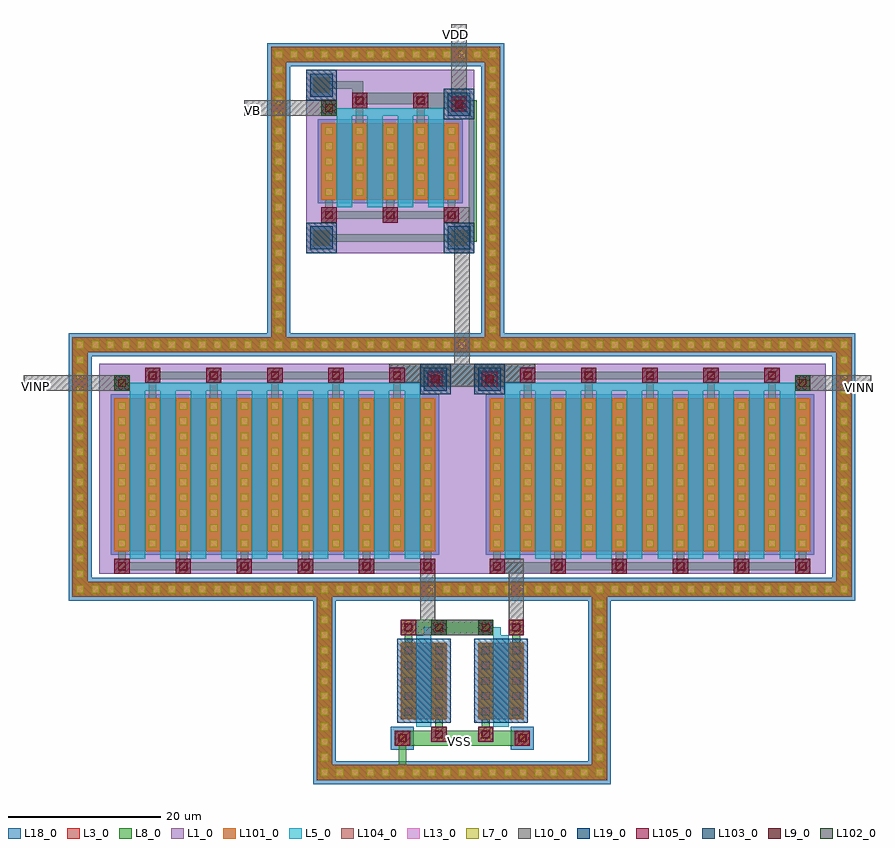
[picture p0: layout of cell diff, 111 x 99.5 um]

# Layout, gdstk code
from math import pi, radians
import gdstk
lib = gdstk.Library(unit=1e-6, precision=1e-07)
def R(c, l, rs):  # rectangles x0, y0, x1, y1
    for r in rs: c.add(gdstk.rectangle(r[:2], r[2:], *l))
L1_0 = (1, 0)
L3_0 = (3, 0)
L5_0 = (5, 0)
L7_0 = (7, 0)
L8_0 = (8, 0)
L9_0 = (9, 0)
L10_0 = (10, 0)
L13_0 = (13, 0)
L18_0 = (18, 0)
L19_0 = (19, 0)
L101_0 = (101, 0)
L102_0 = (102, 0)
L103_0 = (103, 0)
L104_0 = (104, 0)
L105_0 = (105, 0)

dcont = lib.new_cell('dcont')
R(dcont, L3_0, [(-1,-1,1,1)])
R(dcont, L7_0, [(-0.5,-0.5,0.5,0.5)])
R(dcont, L8_0, [(-1,-1,1,1)])
R(dcont, L13_0, [(-0.5,-0.5,0.5,0.5)])
R(dcont, L101_0, [(-1,-1,1,1)])

pcont = lib.new_cell('pcont')
R(pcont, L5_0, [(-1,-1,1,1)])
R(pcont, L7_0, [(-0.5,-0.5,0.5,0.5)])
R(pcont, L8_0, [(-1,-1,1,1)])
R(pcont, L13_0, [(-0.5,-0.5,0.5,0.5)])
R(pcont, L102_0, [(-1,-1,1,1)])

via = lib.new_cell('Via')
R(via, L8_0, [(-1,-1,1,1)])
R(via, L9_0, [(-0.5,-0.5,0.5,0.5)])
R(via, L10_0, [(-1,-1,1,1)])
R(via, L13_0, [(-0.5,-0.5,0.5,0.5)])
R(via, L105_0, [(-1,-1,1,1)])

dcont1 = lib.new_cell('dcont1')
R(dcont1, L3_0, [(-1,-1,1,1)])
R(dcont1, L7_0, [(-0.5,-0.5,0.5,0.5)])
R(dcont1, L8_0, [(-1,-1,1,1)])
R(dcont1, L13_0, [(-0.5,-0.5,0.5,0.5)])
R(dcont1, L101_0, [(-1,-1,1,1)])

nsubcont = lib.new_cell('nsubcont')
R(nsubcont, L1_0, [(-2,-2,2,2)])
R(nsubcont, L19_0, [(-1.5,-1.5,1.5,1.5)])
R(nsubcont, L103_0, [(-2,-2,2,2)])
nsubcont.add(gdstk.Reference(dcont1, (0,0)))

pch_2 = lib.new_cell('Pch$2')
R(pch_2, L1_0, [(-2,-1.5,20,16)])
R(pch_2, L3_0, [(0,3,18,13)])
R(pch_2, L18_0, [(-0.5,2.5,18.5,13.5)])
pch_2.add(gdstk.FlexPath([(1,3),(1,13)], 2, ends="flush", simple_path=True, layer=8, datatype=0))  # L8_0
pch_2.add(gdstk.FlexPath([(5,3),(5,13)], 2, ends="flush", simple_path=True, layer=8, datatype=0))  # L8_0
pch_2.add(gdstk.FlexPath([(9,3),(9,13)], 2, ends="flush", simple_path=True, layer=8, datatype=0))  # L8_0
pch_2.add(gdstk.FlexPath([(13,3),(13,13)], 2, ends="flush", simple_path=True, layer=8, datatype=0))  # L8_0
pch_2.add(gdstk.FlexPath([(17,3),(17,13)], 2, ends="flush", simple_path=True, layer=8, datatype=0))  # L8_0
pch_2.add(gdstk.FlexPath([(1,12),(1,15)], 1, ends="flush", simple_path=True, layer=8, datatype=0))  # L8_0
pch_2.add(gdstk.FlexPath([(5,0),(5,4)], 1, ends="flush", simple_path=True, layer=8, datatype=0))  # L8_0
pch_2.add(gdstk.FlexPath([(9,12),(9,15)], 1, ends="flush", simple_path=True, layer=8, datatype=0))  # L8_0
pch_2.add(gdstk.FlexPath([(1,15),(9,15)], 1, ends="extended", simple_path=True, layer=8, datatype=0))  # L8_0
pch_2.add(gdstk.FlexPath([(13,0),(13,4)], 1, ends="flush", simple_path=True, layer=8, datatype=0))  # L8_0
pch_2.add(gdstk.FlexPath([(5,0),(13,0)], 1, ends="extended", simple_path=True, layer=8, datatype=0))  # L8_0
pch_2.add(gdstk.FlexPath([(17,12),(17,15)], 1, ends="flush", simple_path=True, layer=8, datatype=0))  # L8_0
pch_2.add(gdstk.FlexPath([(9,15),(17,15)], 1, ends="extended", simple_path=True, layer=8, datatype=0))  # L8_0
pch_2.add(gdstk.FlexPath([(3,3),(3,13)], 2, ends="extended", simple_path=True, layer=5, datatype=0))  # L5_0
pch_2.add(gdstk.FlexPath([(7,3),(7,13)], 2, ends="extended", simple_path=True, layer=5, datatype=0))  # L5_0
pch_2.add(gdstk.FlexPath([(11,3),(11,13)], 2, ends="extended", simple_path=True, layer=5, datatype=0))  # L5_0
pch_2.add(gdstk.FlexPath([(15,3),(15,13)], 2, ends="extended", simple_path=True, layer=5, datatype=0))  # L5_0
pch_2.add(gdstk.FlexPath([(1,1.5),(2.5,1.5),(2.5,2)], 1, ends="flush", simple_path=True, layer=5, datatype=0))  # L5_0
pch_2.add(gdstk.FlexPath([(2,1.5),(8,1.5)], 1, ends="flush", simple_path=True, layer=5, datatype=0))  # L5_0
pch_2.add(gdstk.FlexPath([(6,1.5),(12,1.5)], 1, ends="flush", simple_path=True, layer=5, datatype=0))  # L5_0
pch_2.add(gdstk.FlexPath([(10,1.5),(16,1.5)], 1, ends="flush", simple_path=True, layer=5, datatype=0))  # L5_0
pch_2.add(gdstk.Reference(dcont, (1,4)))
pch_2.add(gdstk.Reference(dcont, (1,6)))
pch_2.add(gdstk.Reference(dcont, (1,8)))
pch_2.add(gdstk.Reference(dcont, (1,10)))
pch_2.add(gdstk.Reference(dcont, (1,12)))
pch_2.add(gdstk.Reference(dcont, (5,4)))
pch_2.add(gdstk.Reference(dcont, (5,6)))
pch_2.add(gdstk.Reference(dcont, (5,8)))
pch_2.add(gdstk.Reference(dcont, (5,10)))
pch_2.add(gdstk.Reference(dcont, (5,12)))
pch_2.add(gdstk.Reference(dcont, (9,4)))
pch_2.add(gdstk.Reference(dcont, (9,6)))
pch_2.add(gdstk.Reference(dcont, (9,8)))
pch_2.add(gdstk.Reference(dcont, (9,10)))
pch_2.add(gdstk.Reference(dcont, (9,12)))
pch_2.add(gdstk.Reference(dcont, (13,4)))
pch_2.add(gdstk.Reference(dcont, (13,6)))
pch_2.add(gdstk.Reference(dcont, (13,8)))
pch_2.add(gdstk.Reference(dcont, (13,10)))
pch_2.add(gdstk.Reference(dcont, (13,12)))
pch_2.add(gdstk.Reference(dcont, (17,4)))
pch_2.add(gdstk.Reference(dcont, (17,6)))
pch_2.add(gdstk.Reference(dcont, (17,8)))
pch_2.add(gdstk.Reference(dcont, (17,10)))
pch_2.add(gdstk.Reference(dcont, (17,12)))
pch_2.add(gdstk.Reference(pcont, (1,1)))
pch_2.add(gdstk.Reference(via, (1,1)))
pch_2.add(gdstk.Reference(via, (1,15)))
pch_2.add(gdstk.Reference(via, (5,0)))
pch_2.add(gdstk.Reference(via, (9,15)))
pch_2.add(gdstk.Reference(via, (13,0)))
pch_2.add(gdstk.Reference(via, (17,15)))
pch_2.add(gdstk.Reference(nsubcont, (18,0.5)))
pch_2.add(gdstk.Reference(via, (18,0.5)))

pch_6 = lib.new_cell('Pch$6')
R(pch_6, L1_0, [(-2,-1.5,44,26)])
R(pch_6, L3_0, [(0,3,42,23)])
R(pch_6, L18_0, [(-0.5,2.5,42.5,23.5)])
pch_6.add(gdstk.FlexPath([(1,3),(1,23)], 2, ends="flush", simple_path=True, layer=8, datatype=0))  # L8_0
pch_6.add(gdstk.FlexPath([(5,3),(5,23)], 2, ends="flush", simple_path=True, layer=8, datatype=0))  # L8_0
pch_6.add(gdstk.FlexPath([(9,3),(9,23)], 2, ends="flush", simple_path=True, layer=8, datatype=0))  # L8_0
pch_6.add(gdstk.FlexPath([(13,3),(13,23)], 2, ends="flush", simple_path=True, layer=8, datatype=0))  # L8_0
pch_6.add(gdstk.FlexPath([(17,3),(17,23)], 2, ends="flush", simple_path=True, layer=8, datatype=0))  # L8_0
pch_6.add(gdstk.FlexPath([(21,3),(21,23)], 2, ends="flush", simple_path=True, layer=8, datatype=0))  # L8_0
pch_6.add(gdstk.FlexPath([(25,3),(25,23)], 2, ends="flush", simple_path=True, layer=8, datatype=0))  # L8_0
pch_6.add(gdstk.FlexPath([(29,3),(29,23)], 2, ends="flush", simple_path=True, layer=8, datatype=0))  # L8_0
pch_6.add(gdstk.FlexPath([(33,3),(33,23)], 2, ends="flush", simple_path=True, layer=8, datatype=0))  # L8_0
pch_6.add(gdstk.FlexPath([(37,3),(37,23)], 2, ends="flush", simple_path=True, layer=8, datatype=0))  # L8_0
pch_6.add(gdstk.FlexPath([(41,3),(41,23)], 2, ends="flush", simple_path=True, layer=8, datatype=0))  # L8_0
pch_6.add(gdstk.FlexPath([(1,22),(1,25)], 1, ends="flush", simple_path=True, layer=8, datatype=0))  # L8_0
pch_6.add(gdstk.FlexPath([(5,0),(5,4)], 1, ends="flush", simple_path=True, layer=8, datatype=0))  # L8_0
pch_6.add(gdstk.FlexPath([(9,22),(9,25)], 1, ends="flush", simple_path=True, layer=8, datatype=0))  # L8_0
pch_6.add(gdstk.FlexPath([(1,25),(9,25)], 1, ends="extended", simple_path=True, layer=8, datatype=0))  # L8_0
pch_6.add(gdstk.FlexPath([(13,0),(13,4)], 1, ends="flush", simple_path=True, layer=8, datatype=0))  # L8_0
pch_6.add(gdstk.FlexPath([(5,0),(13,0)], 1, ends="extended", simple_path=True, layer=8, datatype=0))  # L8_0
pch_6.add(gdstk.FlexPath([(17,22),(17,25)], 1, ends="flush", simple_path=True, layer=8, datatype=0))  # L8_0
pch_6.add(gdstk.FlexPath([(9,25),(17,25)], 1, ends="extended", simple_path=True, layer=8, datatype=0))  # L8_0
pch_6.add(gdstk.FlexPath([(21,0),(21,4)], 1, ends="flush", simple_path=True, layer=8, datatype=0))  # L8_0
pch_6.add(gdstk.FlexPath([(13,0),(21,0)], 1, ends="extended", simple_path=True, layer=8, datatype=0))  # L8_0
pch_6.add(gdstk.FlexPath([(25,22),(25,25)], 1, ends="flush", simple_path=True, layer=8, datatype=0))  # L8_0
pch_6.add(gdstk.FlexPath([(17,25),(25,25)], 1, ends="extended", simple_path=True, layer=8, datatype=0))  # L8_0
pch_6.add(gdstk.FlexPath([(29,0),(29,4)], 1, ends="flush", simple_path=True, layer=8, datatype=0))  # L8_0
pch_6.add(gdstk.FlexPath([(21,0),(29,0)], 1, ends="extended", simple_path=True, layer=8, datatype=0))  # L8_0
pch_6.add(gdstk.FlexPath([(33,22),(33,25)], 1, ends="flush", simple_path=True, layer=8, datatype=0))  # L8_0
pch_6.add(gdstk.FlexPath([(25,25),(33,25)], 1, ends="extended", simple_path=True, layer=8, datatype=0))  # L8_0
pch_6.add(gdstk.FlexPath([(37,0),(37,4)], 1, ends="flush", simple_path=True, layer=8, datatype=0))  # L8_0
pch_6.add(gdstk.FlexPath([(29,0),(37,0)], 1, ends="extended", simple_path=True, layer=8, datatype=0))  # L8_0
pch_6.add(gdstk.FlexPath([(41,22),(41,25)], 1, ends="flush", simple_path=True, layer=8, datatype=0))  # L8_0
pch_6.add(gdstk.FlexPath([(33,25),(41,25)], 1, ends="extended", simple_path=True, layer=8, datatype=0))  # L8_0
pch_6.add(gdstk.FlexPath([(3,3),(3,23)], 2, ends="extended", simple_path=True, layer=5, datatype=0))  # L5_0
pch_6.add(gdstk.FlexPath([(7,3),(7,23)], 2, ends="extended", simple_path=True, layer=5, datatype=0))  # L5_0
pch_6.add(gdstk.FlexPath([(11,3),(11,23)], 2, ends="extended", simple_path=True, layer=5, datatype=0))  # L5_0
pch_6.add(gdstk.FlexPath([(15,3),(15,23)], 2, ends="extended", simple_path=True, layer=5, datatype=0))  # L5_0
pch_6.add(gdstk.FlexPath([(19,3),(19,23)], 2, ends="extended", simple_path=True, layer=5, datatype=0))  # L5_0
pch_6.add(gdstk.FlexPath([(23,3),(23,23)], 2, ends="extended", simple_path=True, layer=5, datatype=0))  # L5_0
pch_6.add(gdstk.FlexPath([(27,3),(27,23)], 2, ends="extended", simple_path=True, layer=5, datatype=0))  # L5_0
pch_6.add(gdstk.FlexPath([(31,3),(31,23)], 2, ends="extended", simple_path=True, layer=5, datatype=0))  # L5_0
pch_6.add(gdstk.FlexPath([(35,3),(35,23)], 2, ends="extended", simple_path=True, layer=5, datatype=0))  # L5_0
pch_6.add(gdstk.FlexPath([(39,3),(39,23)], 2, ends="extended", simple_path=True, layer=5, datatype=0))  # L5_0
pch_6.add(gdstk.FlexPath([(1,1.5),(2.5,1.5),(2.5,2)], 1, ends="flush", simple_path=True, layer=5, datatype=0))  # L5_0
pch_6.add(gdstk.FlexPath([(2,1.5),(8,1.5)], 1, ends="flush", simple_path=True, layer=5, datatype=0))  # L5_0
pch_6.add(gdstk.FlexPath([(6,1.5),(12,1.5)], 1, ends="flush", simple_path=True, layer=5, datatype=0))  # L5_0
pch_6.add(gdstk.FlexPath([(10,1.5),(16,1.5)], 1, ends="flush", simple_path=True, layer=5, datatype=0))  # L5_0
pch_6.add(gdstk.FlexPath([(14,1.5),(20,1.5)], 1, ends="flush", simple_path=True, layer=5, datatype=0))  # L5_0
pch_6.add(gdstk.FlexPath([(18,1.5),(24,1.5)], 1, ends="flush", simple_path=True, layer=5, datatype=0))  # L5_0
pch_6.add(gdstk.FlexPath([(22,1.5),(28,1.5)], 1, ends="flush", simple_path=True, layer=5, datatype=0))  # L5_0
pch_6.add(gdstk.FlexPath([(26,1.5),(32,1.5)], 1, ends="flush", simple_path=True, layer=5, datatype=0))  # L5_0
pch_6.add(gdstk.FlexPath([(30,1.5),(36,1.5)], 1, ends="flush", simple_path=True, layer=5, datatype=0))  # L5_0
pch_6.add(gdstk.FlexPath([(34,1.5),(40,1.5)], 1, ends="flush", simple_path=True, layer=5, datatype=0))  # L5_0
pch_6.add(gdstk.Reference(dcont, (1,12)))
pch_6.add(gdstk.Reference(dcont, (5,12)))
pch_6.add(gdstk.Reference(dcont, (9,12)))
pch_6.add(gdstk.Reference(dcont, (13,12)))
pch_6.add(gdstk.Reference(dcont, (17,12)))
pch_6.add(gdstk.Reference(dcont, (21,12)))
pch_6.add(gdstk.Reference(dcont, (25,12)))
pch_6.add(gdstk.Reference(dcont, (29,12)))
pch_6.add(gdstk.Reference(dcont, (33,12)))
pch_6.add(gdstk.Reference(dcont, (37,12)))
pch_6.add(gdstk.Reference(dcont, (41,12)))
pch_6.add(gdstk.Reference(dcont, (25,22)))
pch_6.add(gdstk.Reference(dcont, (25,14)))
pch_6.add(gdstk.Reference(dcont, (29,14)))
pch_6.add(gdstk.Reference(dcont, (29,16)))
pch_6.add(gdstk.Reference(dcont, (29,18)))
pch_6.add(gdstk.Reference(dcont, (29,20)))
pch_6.add(gdstk.Reference(dcont, (29,22)))
pch_6.add(gdstk.Reference(dcont, (25,16)))
pch_6.add(gdstk.Reference(dcont, (33,14)))
pch_6.add(gdstk.Reference(dcont, (33,16)))
pch_6.add(gdstk.Reference(dcont, (33,18)))
pch_6.add(gdstk.Reference(dcont, (33,20)))
pch_6.add(gdstk.Reference(dcont, (33,22)))
pch_6.add(gdstk.Reference(dcont, (25,18)))
pch_6.add(gdstk.Reference(dcont, (37,14)))
pch_6.add(gdstk.Reference(dcont, (37,16)))
pch_6.add(gdstk.Reference(dcont, (37,18)))
pch_6.add(gdstk.Reference(dcont, (37,20)))
pch_6.add(gdstk.Reference(dcont, (37,22)))
pch_6.add(gdstk.Reference(dcont, (25,20)))
pch_6.add(gdstk.Reference(dcont, (41,14)))
pch_6.add(gdstk.Reference(dcont, (41,16)))
pch_6.add(gdstk.Reference(dcont, (41,18)))
pch_6.add(gdstk.Reference(dcont, (41,20)))
pch_6.add(gdstk.Reference(dcont, (41,22)))
pch_6.add(gdstk.Reference(via, (25,25)))
pch_6.add(gdstk.Reference(via, (33,25)))
pch_6.add(gdstk.Reference(via, (41,25)))
pch_6.add(gdstk.Reference(dcont, (5,18)))
pch_6.add(gdstk.Reference(dcont, (5,20)))
pch_6.add(gdstk.Reference(dcont, (5,22)))
pch_6.add(gdstk.Reference(dcont, (1,16)))
pch_6.add(gdstk.Reference(dcont, (9,14)))
pch_6.add(gdstk.Reference(dcont, (9,16)))
pch_6.add(gdstk.Reference(dcont, (9,18)))
pch_6.add(gdstk.Reference(dcont, (9,20)))
pch_6.add(gdstk.Reference(dcont, (9,22)))
pch_6.add(gdstk.Reference(dcont, (1,18)))
pch_6.add(gdstk.Reference(dcont, (13,14)))
pch_6.add(gdstk.Reference(dcont, (13,16)))
pch_6.add(gdstk.Reference(dcont, (13,18)))
pch_6.add(gdstk.Reference(dcont, (13,20)))
pch_6.add(gdstk.Reference(dcont, (13,22)))
pch_6.add(gdstk.Reference(dcont, (1,20)))
pch_6.add(gdstk.Reference(dcont, (17,14)))
pch_6.add(gdstk.Reference(dcont, (17,16)))
pch_6.add(gdstk.Reference(dcont, (17,18)))
pch_6.add(gdstk.Reference(dcont, (17,20)))
pch_6.add(gdstk.Reference(dcont, (17,22)))
pch_6.add(gdstk.Reference(dcont, (1,22)))
pch_6.add(gdstk.Reference(dcont, (21,14)))
pch_6.add(gdstk.Reference(dcont, (21,16)))
pch_6.add(gdstk.Reference(dcont, (21,18)))
pch_6.add(gdstk.Reference(dcont, (21,20)))
pch_6.add(gdstk.Reference(dcont, (21,22)))
pch_6.add(gdstk.Reference(via, (1,25)))
pch_6.add(gdstk.Reference(via, (9,25)))
pch_6.add(gdstk.Reference(via, (17,25)))
pch_6.add(gdstk.Reference(dcont, (1,14)))
pch_6.add(gdstk.Reference(dcont, (5,14)))
pch_6.add(gdstk.Reference(dcont, (5,16)))
pch_6.add(gdstk.Reference(dcont, (1,4)))
pch_6.add(gdstk.Reference(dcont, (1,6)))
pch_6.add(gdstk.Reference(dcont, (21,4)))
pch_6.add(gdstk.Reference(dcont, (21,6)))
pch_6.add(gdstk.Reference(dcont, (21,8)))
pch_6.add(gdstk.Reference(dcont, (21,10)))
pch_6.add(gdstk.Reference(dcont, (13,4)))
pch_6.add(gdstk.Reference(dcont, (13,6)))
pch_6.add(gdstk.Reference(dcont, (13,8)))
pch_6.add(gdstk.Reference(dcont, (13,10)))
pch_6.add(gdstk.Reference(dcont, (5,4)))
pch_6.add(gdstk.Reference(dcont, (5,6)))
pch_6.add(gdstk.Reference(dcont, (9,4)))
pch_6.add(gdstk.Reference(dcont, (9,6)))
pch_6.add(gdstk.Reference(dcont, (9,8)))
pch_6.add(gdstk.Reference(dcont, (9,10)))
pch_6.add(gdstk.Reference(dcont, (17,4)))
pch_6.add(gdstk.Reference(dcont, (17,6)))
pch_6.add(gdstk.Reference(pcont, (1,1)))
pch_6.add(gdstk.Reference(via, (1,1)))
pch_6.add(gdstk.Reference(dcont, (17,8)))
pch_6.add(gdstk.Reference(via, (5,0)))
pch_6.add(gdstk.Reference(dcont, (17,10)))
pch_6.add(gdstk.Reference(via, (13,0)))
pch_6.add(gdstk.Reference(dcont, (5,8)))
pch_6.add(gdstk.Reference(via, (21,0)))
pch_6.add(gdstk.Reference(dcont, (5,10)))
pch_6.add(gdstk.Reference(dcont, (1,8)))
pch_6.add(gdstk.Reference(dcont, (1,10)))
pch_6.add(gdstk.Reference(dcont, (41,6)))
pch_6.add(gdstk.Reference(dcont, (41,8)))
pch_6.add(gdstk.Reference(dcont, (41,10)))
pch_6.add(gdstk.Reference(dcont, (29,8)))
pch_6.add(gdstk.Reference(dcont, (29,10)))
pch_6.add(gdstk.Reference(dcont, (25,8)))
pch_6.add(gdstk.Reference(dcont, (25,10)))
pch_6.add(gdstk.Reference(dcont, (25,4)))
pch_6.add(gdstk.Reference(dcont, (25,6)))
pch_6.add(gdstk.Reference(dcont, (37,4)))
pch_6.add(gdstk.Reference(dcont, (37,6)))
pch_6.add(gdstk.Reference(dcont, (37,8)))
pch_6.add(gdstk.Reference(dcont, (37,10)))
pch_6.add(gdstk.Reference(dcont, (29,4)))
pch_6.add(gdstk.Reference(dcont, (29,6)))
pch_6.add(gdstk.Reference(dcont, (33,4)))
pch_6.add(gdstk.Reference(dcont, (33,6)))
pch_6.add(gdstk.Reference(dcont, (33,8)))
pch_6.add(gdstk.Reference(via, (29,0)))
pch_6.add(gdstk.Reference(dcont, (33,10)))
pch_6.add(gdstk.Reference(via, (37,0)))
pch_6.add(gdstk.Reference(dcont, (41,4)))
pch_6.add(gdstk.Reference(nsubcont, (42,0.5)))
pch_6.add(gdstk.Reference(via, (42,0.5)))

dcont1_1 = lib.new_cell('dcont1$1')
R(dcont1_1, L3_0, [(-1,-1,1,1)])
R(dcont1_1, L7_0, [(-0.5,-0.5,0.5,0.5)])
R(dcont1_1, L8_0, [(-1,-1,1,1)])
R(dcont1_1, L13_0, [(-0.5,-0.5,0.5,0.5)])
R(dcont1_1, L101_0, [(-1,-1,1,1)])

psubcont_1 = lib.new_cell('psubcont$1')
R(psubcont_1, L18_0, [(-1.5,-1.5,1.5,1.5)])
R(psubcont_1, L104_0, [(-1,-1,1,1)])
psubcont_1.add(gdstk.Reference(dcont1_1, (0,0)))

dcont1_2 = lib.new_cell('dcont1$2')
R(dcont1_2, L3_0, [(-1,-1,1,1)])
R(dcont1_2, L7_0, [(-0.5,-0.5,0.5,0.5)])
R(dcont1_2, L8_0, [(-1,-1,1,1)])
R(dcont1_2, L13_0, [(-0.5,-0.5,0.5,0.5)])
R(dcont1_2, L101_0, [(-1,-1,1,1)])

nsubcont_1 = lib.new_cell('nsubcont$1')
R(nsubcont_1, L1_0, [(-2,-2,2,2)])
R(nsubcont_1, L19_0, [(-1.5,-1.5,1.5,1.5)])
R(nsubcont_1, L103_0, [(-2,-2,2,2)])
nsubcont_1.add(gdstk.Reference(dcont1_2, (0,0)))

via_1 = lib.new_cell('Via$1')
R(via_1, L8_0, [(-1,-1,1,1)])
R(via_1, L9_0, [(-0.5,-0.5,0.5,0.5)])
R(via_1, L10_0, [(-1,-1,1,1)])
R(via_1, L13_0, [(-0.5,-0.5,0.5,0.5)])
R(via_1, L105_0, [(-1,-1,1,1)])

psubcont = lib.new_cell('psubcont')
R(psubcont, L18_0, [(-1.5,-1.5,1.5,1.5)])
R(psubcont, L104_0, [(-1,-1,1,1)])
psubcont.add(gdstk.Reference(dcont1, (0,0)))

nch = lib.new_cell('Nch')
R(nch, L3_0, [(0,3,6,13)])
R(nch, L19_0, [(-0.5,2.5,6.5,13.5)])
nch.add(gdstk.FlexPath([(1,3),(1,13)], 2, ends="flush", simple_path=True, layer=8, datatype=0))  # L8_0
nch.add(gdstk.FlexPath([(5,3),(5,13)], 2, ends="flush", simple_path=True, layer=8, datatype=0))  # L8_0
nch.add(gdstk.FlexPath([(1,1),(1,4)], 1, ends="flush", simple_path=True, layer=8, datatype=0))  # L8_0
nch.add(gdstk.FlexPath([(5,12),(5,15)], 1, ends="flush", simple_path=True, layer=8, datatype=0))  # L8_0
nch.add(gdstk.FlexPath([(3,3),(3,13)], 2, ends="extended", simple_path=True, layer=5, datatype=0))  # L5_0
nch.add(gdstk.FlexPath([(1,14.5),(2.5,14.5),(2.5,14)], 1, ends="flush", simple_path=True, layer=5, datatype=0))  # L5_0
nch.add(gdstk.Reference(dcont, (1,4)))
nch.add(gdstk.Reference(dcont, (1,6)))
nch.add(gdstk.Reference(dcont, (1,8)))
nch.add(gdstk.Reference(dcont, (1,10)))
nch.add(gdstk.Reference(dcont, (1,12)))
nch.add(gdstk.Reference(dcont, (5,4)))
nch.add(gdstk.Reference(dcont, (5,6)))
nch.add(gdstk.Reference(dcont, (5,8)))
nch.add(gdstk.Reference(dcont, (5,10)))
nch.add(gdstk.Reference(dcont, (5,12)))
nch.add(gdstk.Reference(pcont, (1,15)))
nch.add(gdstk.Reference(via, (1,15)))
nch.add(gdstk.Reference(via, (1,1)))
nch.add(gdstk.Reference(via, (5,15)))
nch.add(gdstk.Reference(psubcont, (5.8,0.5)))
nch.add(gdstk.Reference(via, (5.8,0.5)))

diff = lib.new_cell('diff')
R(diff, L1_0, [(209.9,23.5,213,51), (191,65.5,213,89.5)])
R(diff, L8_0, [(215.5,23.5,223.5,25), (205.9,48,217,51), (201.9,48.5,221,51), (212,68,212.3,68.5), (212,84,212.3,84.5), (199,86,205,86.5), (210,86,212,86.5), (197,86.5,197.5,87)])
R(diff, L10_0, [(205.9,48,217,51), (201.9,48.5,221,51)])
diff.add(gdstk.FlexPath([(193,87.5),(198,87.5),(198,85)], 1, ends="flush", simple_path=True, layer=8, datatype=0))  # L8_0
diff.add(gdstk.FlexPath([(192.5,67.5),(212.8,67.5),(212.8,85),(210.5,85)], 1, ends="flush", simple_path=True, layer=8, datatype=0))  # L8_0
diff.add(gdstk.FlexPath([(215.5,16.5),(207.4,16.5)], 2, ends="flush", simple_path=True, layer=8, datatype=0))  # L8_0
diff.add(gdstk.FlexPath([(209.4,16.5),(203.4,16.5)], 2, ends="flush", simple_path=True, layer=8, datatype=0))  # L8_0
diff.add(gdstk.FlexPath([(206,85.5),(211,85.5),(211,86.5)], 2, ends="flush", simple_path=True, layer=8, datatype=0))  # L8_0
diff.add(gdstk.FlexPath([(203.6,2),(203.6,-2.9)], 1, ends="flush", simple_path=True, layer=8, datatype=0))  # L8_0
diff.add(gdstk.FlexPath([(220.3,2),(202.6,2)], 2, ends="flush", simple_path=True, layer=8, datatype=0))  # L8_0
diff.add(gdstk.FlexPath([(206.9,25.5),(206.9,15.5)], 2, ends="flush", simple_path=True, layer=10, datatype=0))  # L10_0
diff.add(gdstk.FlexPath([(203.4,16.5),(215.5,16.5)], 2, ends="flush", simple_path=True, layer=10, datatype=0))  # L10_0
diff.add(gdstk.FlexPath([(215,24.5),(218.5,24.5),(218.5,15.5)], 2, ends="flush", simple_path=True, layer=10, datatype=0))  # L10_0
diff.add(gdstk.FlexPath([(211,84.1),(211,95.5)], 2, ends="flush", simple_path=True, layer=10, datatype=0))  # L10_0
diff.add(gdstk.FlexPath([(195,84.5),(182.9,84.5)], 2, ends="flush", simple_path=True, layer=10, datatype=0))  # L10_0
diff.add(gdstk.FlexPath([(167.9,48.5),(154,48.5)], 2, ends="flush", simple_path=True, layer=10, datatype=0))  # L10_0
diff.add(gdstk.FlexPath([(255,48.5),(265,48.5)], 2, ends="flush", simple_path=True, layer=10, datatype=0))  # L10_0
diff.add(gdstk.FlexPath([(209,70.5),(211.4,70.5),(211.4,48.5)], 2, ends="flush", simple_path=True, layer=10, datatype=0))  # L10_0
diff.add(gdstk.Reference(pch_2, (193,85.5), x_reflection=True))
diff.add(gdstk.Reference(pch_6, (165.9,49.5), x_reflection=True))
diff.add(gdstk.Reference(pch_6, (257,49.5), rotation=pi))
diff.add(gdstk.Reference(psubcont_1, (211.4,53.5)))
diff.add(gdstk.Reference(psubcont_1, (161.4,45.5)))
diff.add(gdstk.Reference(psubcont_1, (161.4,43.5)))
diff.add(gdstk.Reference(psubcont_1, (211.4,21.5)))
diff.add(gdstk.Reference(psubcont_1, (261.4,45.5)))
diff.add(gdstk.Reference(psubcont_1, (261.4,43.5)))
diff.add(gdstk.Reference(psubcont_1, (211.4,-2.5)))
diff.add(gdstk.Reference(psubcont_1, (211.4,91.5)))
diff.add(gdstk.Reference(nsubcont_1, (211,67.5), rotation=pi))
diff.add(gdstk.Reference(via_1, (211,85), rotation=pi))
diff.add(gdstk.Reference(psubcont_1, (231.4,53.5)))
diff.add(gdstk.Reference(psubcont_1, (233.4,53.5)))
diff.add(gdstk.Reference(psubcont_1, (235.4,53.5)))
diff.add(gdstk.Reference(psubcont_1, (237.4,53.5)))
diff.add(gdstk.Reference(psubcont_1, (239.4,53.5)))
diff.add(gdstk.Reference(psubcont_1, (241.4,53.5)))
diff.add(gdstk.Reference(psubcont_1, (243.4,53.5)))
diff.add(gdstk.Reference(psubcont_1, (245.4,53.5)))
diff.add(gdstk.Reference(psubcont_1, (247.4,53.5)))
diff.add(gdstk.Reference(psubcont_1, (249.4,53.5)))
diff.add(gdstk.Reference(psubcont_1, (251.4,53.5)))
diff.add(gdstk.Reference(psubcont_1, (253.4,53.5)))
diff.add(gdstk.Reference(psubcont_1, (255.4,53.5)))
diff.add(gdstk.Reference(psubcont_1, (257.4,53.5)))
diff.add(gdstk.Reference(psubcont_1, (259.4,53.5)))
diff.add(gdstk.Reference(psubcont_1, (213.4,53.5)))
diff.add(gdstk.Reference(psubcont_1, (215.4,53.5)))
diff.add(gdstk.Reference(psubcont_1, (217.4,53.5)))
diff.add(gdstk.Reference(psubcont_1, (261.4,53.5)))
diff.add(gdstk.Reference(psubcont_1, (261.4,51.5)))
diff.add(gdstk.Reference(psubcont_1, (261.4,49.5)))
diff.add(gdstk.Reference(psubcont_1, (261.4,47.5)))
diff.add(gdstk.Reference(psubcont_1, (219.4,53.5)))
diff.add(gdstk.Reference(psubcont_1, (221.4,53.5)))
diff.add(gdstk.Reference(psubcont_1, (223.4,53.5)))
diff.add(gdstk.Reference(psubcont_1, (225.4,53.5)))
diff.add(gdstk.Reference(psubcont_1, (213.4,91.5)))
diff.add(gdstk.Reference(psubcont_1, (215.4,91.5)))
diff.add(gdstk.Reference(psubcont_1, (215.4,89.5)))
diff.add(gdstk.Reference(psubcont_1, (215.4,87.5)))
diff.add(gdstk.Reference(psubcont_1, (215.4,85.5)))
diff.add(gdstk.Reference(psubcont_1, (215.4,83.5)))
diff.add(gdstk.Reference(psubcont_1, (215.4,81.5)))
diff.add(gdstk.Reference(psubcont_1, (215.4,79.5)))
diff.add(gdstk.Reference(psubcont_1, (215.4,77.5)))
diff.add(gdstk.Reference(psubcont_1, (215.4,75.5)))
diff.add(gdstk.Reference(psubcont_1, (215.4,73.5)))
diff.add(gdstk.Reference(psubcont_1, (215.4,71.5)))
diff.add(gdstk.Reference(psubcont_1, (215.4,69.5)))
diff.add(gdstk.Reference(psubcont_1, (215.4,67.5)))
diff.add(gdstk.Reference(psubcont_1, (215.4,65.5)))
diff.add(gdstk.Reference(psubcont_1, (215.4,63.5)))
diff.add(gdstk.Reference(psubcont_1, (215.4,61.5)))
diff.add(gdstk.Reference(psubcont_1, (215.4,59.5)))
diff.add(gdstk.Reference(psubcont_1, (215.4,57.5)))
diff.add(gdstk.Reference(psubcont_1, (215.4,55.5)))
diff.add(gdstk.Reference(psubcont_1, (215.4,53.5)))
diff.add(gdstk.Reference(psubcont_1, (227.4,53.5)))
diff.add(gdstk.Reference(psubcont_1, (229.4,53.5)))
diff.add(gdstk.Reference(psubcont_1, (163.4,53.5)))
diff.add(gdstk.Reference(psubcont_1, (161.4,53.5)))
diff.add(gdstk.Reference(psubcont_1, (187.4,53.5)))
diff.add(gdstk.Reference(psubcont_1, (189.4,53.5)))
diff.add(gdstk.Reference(psubcont_1, (189.4,91.5)))
diff.add(gdstk.Reference(psubcont_1, (187.4,55.5)))
diff.add(gdstk.Reference(psubcont_1, (191.4,91.5)))
diff.add(gdstk.Reference(psubcont_1, (193.4,91.5)))
diff.add(gdstk.Reference(psubcont_1, (195.4,91.5)))
diff.add(gdstk.Reference(psubcont_1, (197.4,91.5)))
diff.add(gdstk.Reference(psubcont_1, (199.4,91.5)))
diff.add(gdstk.Reference(psubcont_1, (201.4,91.5)))
diff.add(gdstk.Reference(psubcont_1, (203.4,91.5)))
diff.add(gdstk.Reference(psubcont_1, (205.4,91.5)))
diff.add(gdstk.Reference(psubcont_1, (207.4,91.5)))
diff.add(gdstk.Reference(psubcont_1, (209.4,91.5)))
diff.add(gdstk.Reference(psubcont_1, (161.4,51.5)))
diff.add(gdstk.Reference(psubcont_1, (161.4,49.5)))
diff.add(gdstk.Reference(psubcont_1, (161.4,47.5)))
diff.add(gdstk.Reference(psubcont_1, (201.4,53.5)))
diff.add(gdstk.Reference(psubcont_1, (203.4,53.5)))
diff.add(gdstk.Reference(psubcont_1, (205.4,53.5)))
diff.add(gdstk.Reference(psubcont_1, (207.4,53.5)))
diff.add(gdstk.Reference(psubcont_1, (209.4,53.5)))
diff.add(gdstk.Reference(psubcont_1, (191.4,53.5)))
diff.add(gdstk.Reference(psubcont_1, (193.4,53.5)))
diff.add(gdstk.Reference(psubcont_1, (195.4,53.5)))
diff.add(gdstk.Reference(psubcont_1, (197.4,53.5)))
diff.add(gdstk.Reference(psubcont_1, (199.4,53.5)))
diff.add(gdstk.Reference(psubcont_1, (185.4,53.5)))
diff.add(gdstk.Reference(psubcont_1, (183.4,53.5)))
diff.add(gdstk.Reference(psubcont_1, (181.4,53.5)))
diff.add(gdstk.Reference(psubcont_1, (179.4,53.5)))
diff.add(gdstk.Reference(psubcont_1, (177.4,53.5)))
diff.add(gdstk.Reference(psubcont_1, (175.4,53.5)))
diff.add(gdstk.Reference(psubcont_1, (173.4,53.5)))
diff.add(gdstk.Reference(psubcont_1, (171.4,53.5)))
diff.add(gdstk.Reference(psubcont_1, (169.4,53.5)))
diff.add(gdstk.Reference(psubcont_1, (187.4,91.5)))
diff.add(gdstk.Reference(psubcont_1, (187.4,89.5)))
diff.add(gdstk.Reference(psubcont_1, (187.4,87.5)))
diff.add(gdstk.Reference(psubcont_1, (187.4,85.5)))
diff.add(gdstk.Reference(psubcont_1, (187.4,83.5)))
diff.add(gdstk.Reference(psubcont_1, (187.4,81.5)))
diff.add(gdstk.Reference(psubcont_1, (187.4,79.5)))
diff.add(gdstk.Reference(psubcont_1, (187.4,77.5)))
diff.add(gdstk.Reference(psubcont_1, (187.4,75.5)))
diff.add(gdstk.Reference(psubcont_1, (187.4,73.5)))
diff.add(gdstk.Reference(psubcont_1, (187.4,71.5)))
diff.add(gdstk.Reference(psubcont_1, (187.4,69.5)))
diff.add(gdstk.Reference(psubcont_1, (187.4,67.5)))
diff.add(gdstk.Reference(psubcont_1, (187.4,65.5)))
diff.add(gdstk.Reference(psubcont_1, (187.4,63.5)))
diff.add(gdstk.Reference(psubcont_1, (187.4,61.5)))
diff.add(gdstk.Reference(psubcont_1, (187.4,59.5)))
diff.add(gdstk.Reference(psubcont_1, (187.4,57.5)))
diff.add(gdstk.Reference(nsubcont_1, (193,67.5), rotation=pi))
diff.add(gdstk.Reference(nsubcont_1, (193,87.5), rotation=pi))
diff.add(gdstk.Reference(psubcont_1, (167.4,53.5)))
diff.add(gdstk.Reference(psubcont_1, (165.4,53.5)))
diff.add(gdstk.Reference(psubcont_1, (185.4,21.5)))
diff.add(gdstk.Reference(psubcont_1, (187.4,21.5)))
diff.add(gdstk.Reference(psubcont_1, (189.4,21.5)))
diff.add(gdstk.Reference(psubcont_1, (191.4,21.5)))
diff.add(gdstk.Reference(psubcont_1, (193.4,21.5)))
diff.add(gdstk.Reference(psubcont_1, (195.4,21.5)))
diff.add(gdstk.Reference(psubcont_1, (197.4,21.5)))
diff.add(gdstk.Reference(psubcont_1, (199.4,21.5)))
diff.add(gdstk.Reference(psubcont_1, (201.4,21.5)))
diff.add(gdstk.Reference(psubcont_1, (203.4,21.5)))
diff.add(gdstk.Reference(psubcont_1, (205.4,21.5)))
diff.add(gdstk.Reference(psubcont_1, (207.4,21.5)))
diff.add(gdstk.Reference(psubcont_1, (209.4,21.5)))
diff.add(gdstk.Reference(nch, (209.4,1.5), rotation=pi, x_reflection=True))
diff.add(gdstk.Reference(psubcont_1, (161.4,41.5)))
diff.add(gdstk.Reference(psubcont_1, (161.4,39.5)))
diff.add(gdstk.Reference(psubcont_1, (161.4,37.5)))
diff.add(gdstk.Reference(psubcont_1, (161.4,35.5)))
diff.add(gdstk.Reference(psubcont_1, (161.4,33.5)))
diff.add(gdstk.Reference(psubcont_1, (161.4,31.5)))
diff.add(gdstk.Reference(psubcont_1, (193.4,19.5)))
diff.add(gdstk.Reference(psubcont_1, (193.4,17.5)))
diff.add(gdstk.Reference(psubcont_1, (193.4,15.5)))
diff.add(gdstk.Reference(psubcont_1, (193.4,13.5)))
diff.add(gdstk.Reference(psubcont_1, (193.4,11.5)))
diff.add(gdstk.Reference(psubcont_1, (193.4,9.5)))
diff.add(gdstk.Reference(psubcont_1, (193.4,7.5)))
diff.add(gdstk.Reference(psubcont_1, (193.4,5.5)))
diff.add(gdstk.Reference(psubcont_1, (193.4,3.5)))
diff.add(gdstk.Reference(psubcont_1, (193.4,1.5)))
diff.add(gdstk.Reference(psubcont_1, (193.4,-0.5)))
diff.add(gdstk.Reference(psubcont_1, (193.4,-2.5)))
diff.add(gdstk.Reference(psubcont_1, (195.4,-2.5)))
diff.add(gdstk.Reference(psubcont_1, (197.4,-2.5)))
diff.add(gdstk.Reference(psubcont_1, (199.4,-2.5)))
diff.add(gdstk.Reference(psubcont_1, (201.4,-2.5)))
diff.add(gdstk.Reference(psubcont_1, (203.4,-2.5)))
diff.add(gdstk.Reference(psubcont_1, (205.4,-2.5)))
diff.add(gdstk.Reference(psubcont_1, (207.4,-2.5)))
diff.add(gdstk.Reference(psubcont_1, (209.4,-2.5)))
diff.add(gdstk.Reference(psubcont_1, (161.4,29.5)))
diff.add(gdstk.Reference(psubcont_1, (161.4,27.5)))
diff.add(gdstk.Reference(psubcont_1, (161.4,25.5)))
diff.add(gdstk.Reference(psubcont_1, (161.4,23.5)))
diff.add(gdstk.Reference(psubcont_1, (161.4,21.5)))
diff.add(gdstk.Reference(psubcont_1, (163.4,21.5)))
diff.add(gdstk.Reference(psubcont_1, (165.4,21.5)))
diff.add(gdstk.Reference(psubcont_1, (167.4,21.5)))
diff.add(gdstk.Reference(psubcont_1, (169.4,21.5)))
diff.add(gdstk.Reference(psubcont_1, (171.4,21.5)))
diff.add(gdstk.Reference(psubcont_1, (173.4,21.5)))
diff.add(gdstk.Reference(psubcont_1, (175.4,21.5)))
diff.add(gdstk.Reference(psubcont_1, (177.4,21.5)))
diff.add(gdstk.Reference(psubcont_1, (179.4,21.5)))
diff.add(gdstk.Reference(psubcont_1, (181.4,21.5)))
diff.add(gdstk.Reference(psubcont_1, (183.4,21.5)))
diff.add(gdstk.Reference(psubcont_1, (225.4,21.5)))
diff.add(gdstk.Reference(psubcont_1, (227.4,21.5)))
diff.add(gdstk.Reference(psubcont_1, (229.4,21.5)))
diff.add(gdstk.Reference(psubcont_1, (231.4,21.5)))
diff.add(gdstk.Reference(psubcont_1, (233.4,21.5)))
diff.add(gdstk.Reference(psubcont_1, (235.4,21.5)))
diff.add(gdstk.Reference(psubcont_1, (237.4,21.5)))
diff.add(gdstk.Reference(psubcont_1, (239.4,21.5)))
diff.add(gdstk.Reference(psubcont_1, (241.4,21.5)))
diff.add(gdstk.Reference(psubcont_1, (243.4,21.5)))
diff.add(gdstk.Reference(psubcont_1, (245.4,21.5)))
diff.add(gdstk.Reference(psubcont_1, (247.4,21.5)))
diff.add(gdstk.Reference(psubcont_1, (249.4,21.5)))
diff.add(gdstk.Reference(psubcont_1, (251.4,21.5)))
diff.add(gdstk.Reference(psubcont_1, (253.4,21.5)))
diff.add(gdstk.Reference(psubcont_1, (255.4,21.5)))
diff.add(gdstk.Reference(psubcont_1, (257.4,21.5)))
diff.add(gdstk.Reference(nch, (213.5,1.5)))
diff.add(gdstk.Reference(psubcont_1, (259.4,21.5)))
diff.add(gdstk.Reference(psubcont_1, (261.4,21.5)))
diff.add(gdstk.Reference(psubcont_1, (213.4,-2.5)))
diff.add(gdstk.Reference(psubcont_1, (215.4,-2.5)))
diff.add(gdstk.Reference(psubcont_1, (217.4,-2.5)))
diff.add(gdstk.Reference(psubcont_1, (219.4,-2.5)))
diff.add(gdstk.Reference(psubcont_1, (221.4,-2.5)))
diff.add(gdstk.Reference(psubcont_1, (223.4,-2.5)))
diff.add(gdstk.Reference(psubcont_1, (225.4,-2.5)))
diff.add(gdstk.Reference(psubcont_1, (227.4,-2.5)))
diff.add(gdstk.Reference(psubcont_1, (229.4,-2.5)))
diff.add(gdstk.Reference(psubcont_1, (229.4,19.5)))
diff.add(gdstk.Reference(psubcont_1, (229.4,17.5)))
diff.add(gdstk.Reference(psubcont_1, (229.4,15.5)))
diff.add(gdstk.Reference(psubcont_1, (229.4,13.5)))
diff.add(gdstk.Reference(psubcont_1, (229.4,11.5)))
diff.add(gdstk.Reference(psubcont_1, (261.4,23.5)))
diff.add(gdstk.Reference(psubcont_1, (261.4,21.5)))
diff.add(gdstk.Reference(psubcont_1, (229.4,9.5)))
diff.add(gdstk.Reference(psubcont_1, (229.4,7.5)))
diff.add(gdstk.Reference(psubcont_1, (229.4,5.5)))
diff.add(gdstk.Reference(psubcont_1, (229.4,3.5)))
diff.add(gdstk.Reference(psubcont_1, (229.4,1.5)))
diff.add(gdstk.Reference(psubcont_1, (229.4,-0.5)))
diff.add(gdstk.Reference(psubcont_1, (229.4,-2.5)))
diff.add(gdstk.Reference(psubcont_1, (213.4,21.5)))
diff.add(gdstk.Reference(psubcont_1, (215.4,21.5)))
diff.add(gdstk.Reference(psubcont_1, (217.4,21.5)))
diff.add(gdstk.Reference(psubcont_1, (219.4,21.5)))
diff.add(gdstk.Reference(psubcont_1, (221.4,21.5)))
diff.add(gdstk.Reference(psubcont_1, (261.4,41.5)))
diff.add(gdstk.Reference(psubcont_1, (261.4,39.5)))
diff.add(gdstk.Reference(psubcont_1, (261.4,37.5)))
diff.add(gdstk.Reference(psubcont_1, (261.4,35.5)))
diff.add(gdstk.Reference(psubcont_1, (261.4,33.5)))
diff.add(gdstk.Reference(psubcont_1, (261.4,31.5)))
diff.add(gdstk.Reference(psubcont_1, (261.4,29.5)))
diff.add(gdstk.Reference(psubcont_1, (261.4,27.5)))
diff.add(gdstk.Reference(psubcont_1, (261.4,25.5)))
diff.add(gdstk.Reference(psubcont_1, (223.4,21.5)))
diff.add(gdstk.Label('VSS', (211.1,1.5), layer=8, texttype=0))
diff.add(gdstk.Label('VDD', (210.5,94.1), layer=10, texttype=0))
diff.add(gdstk.Label('VB', (184,84.2), layer=10, texttype=0))
diff.add(gdstk.Label('VINP', (155.5,48), layer=10, texttype=0))
diff.add(gdstk.Label('VINN', (263.4,47.9), layer=10, texttype=0))

lib.write_gds('diff.gds')
